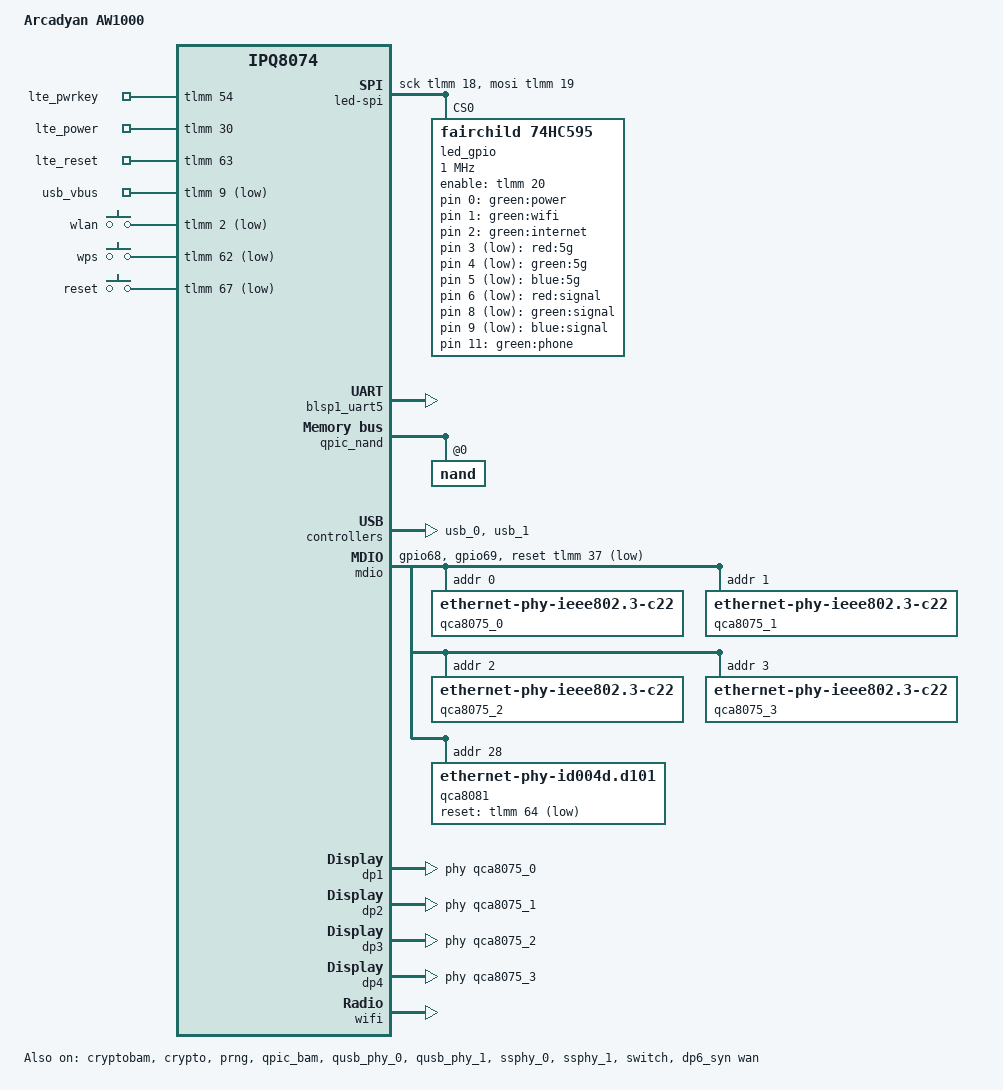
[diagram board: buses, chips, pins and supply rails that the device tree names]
// SPDX-License-Identifier: GPL-2.0-or-later OR MIT

/dts-v1/;

#include "ipq8074.dtsi"
#include "ipq8074-hk-cpu.dtsi"
#include "ipq8074-ess.dtsi"
#include "ipq8074-nss.dtsi"
#include <dt-bindings/gpio/gpio.h>
#include <dt-bindings/input/input.h>

/ {
	model = "Arcadyan AW1000";
	compatible = "arcadyan,aw1000", "qcom,ipq8074";

	aliases {
		led-boot = &led_power;
		led-failsafe = &led_power;
		led-running = &led_power;
		led-upgrade = &led_power;
		serial0 = &blsp1_uart5;
		/*
		 * Aliases as required by u-boot
		 * to patch MAC addresses
		 */
		ethernet0 = &dp1;
		ethernet1 = &dp2;
		ethernet2 = &dp3;
		ethernet3 = &dp4;
		ethernet4 = &dp6_syn;
		label-mac-device = &dp1;
	};

	chosen {
		stdout-path = "serial0:115200n8";
		bootargs-append = " root=/dev/ubiblock0_1";
	};

	gpio-export {
		compatible = "gpio-export";

		lte-pwrkey {
			gpio-export,name = "lte_pwrkey";
			gpio-export,output = <1>;
			gpios = <&tlmm 54 GPIO_ACTIVE_HIGH>;
		};

		lte-power {
			gpio-export,name = "lte_power";
			gpio-export,output = <1>;
			gpios = <&tlmm 30 GPIO_ACTIVE_HIGH>;
		};

		lte-reset {
			gpio-export,name = "lte_reset";
			gpio-export,output = <1>;
			gpios = <&tlmm 63 GPIO_ACTIVE_HIGH>;
		};

		usb-vbus {
			gpio-export,name = "usb_vbus";
			gpio-export,output = <0>;
			gpios = <&tlmm 9 GPIO_ACTIVE_LOW>;
		};
	};

	keys {
		compatible = "gpio-keys";

		wlan {
			label = "wlan";
			linux,code = <KEY_WLAN>;
			gpios = <&tlmm 2 GPIO_ACTIVE_LOW>;
		};

		wps {
			label = "wps";
			linux,code = <KEY_WPS_BUTTON>;
			gpios = <&tlmm 62 GPIO_ACTIVE_LOW>;
		};

		reset {
			label = "reset";
			linux,code = <KEY_RESTART>;
			gpios = <&tlmm 67 GPIO_ACTIVE_LOW>;
		};
	};

	led-spi {
		compatible = "spi-gpio";
		#address-cells = <1>;
		#size-cells = <0>;

		sck-gpios = <&tlmm 18 GPIO_ACTIVE_HIGH>;
		mosi-gpios = <&tlmm 19 GPIO_ACTIVE_HIGH>;

		led_gpio: led-gpio@0 {
			compatible = "fairchild,74hc595";
			reg = <0>;
			gpio-controller;
			#gpio-cells = <2>;
			registers-number = <2>;
			spi-max-frequency = <1000000>;
			enable-gpios = <&tlmm 20 GPIO_ACTIVE_HIGH>;
		};
	};

	leds {
		compatible = "gpio-leds";

		led_power: power {
			label = "green:power";
			gpios = <&led_gpio 0 GPIO_ACTIVE_HIGH>;
		};

		wifi {
			label = "green:wifi";
			gpios = <&led_gpio 1 GPIO_ACTIVE_HIGH>;
		};

		internet {
			label = "green:internet";
			gpios = <&led_gpio 2 GPIO_ACTIVE_HIGH>;
		};

		5g-red {
			label = "red:5g";
			gpios = <&led_gpio 3 GPIO_ACTIVE_LOW>;
		};

		5g-green {
			label = "green:5g";
			gpios = <&led_gpio 4 GPIO_ACTIVE_LOW>;
		};

		5g-blue {
			label = "blue:5g";
			gpios = <&led_gpio 5 GPIO_ACTIVE_LOW>;
		};

		signal-red {
			label = "red:signal";
			gpios = <&led_gpio 6 GPIO_ACTIVE_LOW>;
		};

		signal-green {
			label = "green:signal";
			gpios = <&led_gpio 8 GPIO_ACTIVE_LOW>;
		};

		signal-blue {
			label = "blue:signal";
			gpios = <&led_gpio 9 GPIO_ACTIVE_LOW>;
		};

		phone {
			label = "green:phone";
			gpios = <&led_gpio 11 GPIO_ACTIVE_HIGH>;
		};
	};
};

&tlmm {
	mdio_pins: mdio-pins {
		mdc {
			pins = "gpio68";
			function = "mdc";
			drive-strength = <8>;
			bias-pull-up;
		};

		mdio {
			pins = "gpio69";
			function = "mdio";
			drive-strength = <8>;
			bias-pull-up;
		};
	};
};

&blsp1_uart5 {
	status = "okay";
};

&cryptobam {
	status = "okay";
};

&crypto {
	status = "okay";
};

&prng {
	status = "okay";
};

&qpic_bam {
	status = "okay";
};

&qpic_nand {
	status = "okay";

	nand@0 {
		reg = <0>;
		nand-ecc-strength = <8>;
		nand-ecc-step-size = <512>;
		nand-bus-width = <8>;

		partitions {
			compatible = "qcom,smem-part";
		};
	};
};

&qusb_phy_0 {
	status = "okay";
};

&qusb_phy_1 {
	status = "okay";
};

&ssphy_0 {
	status = "okay";
};

&ssphy_1 {
	status = "okay";
};

&usb_0 {
	status = "okay";
};

&usb_1 {
	status = "okay";
};

&mdio {
	status = "okay";

	pinctrl-0 = <&mdio_pins>;
	pinctrl-names = "default";
	reset-gpios = <&tlmm 37 GPIO_ACTIVE_LOW>;

	qca8075_0: ethernet-phy@0 {
		compatible = "ethernet-phy-ieee802.3-c22";
		reg = <0>;
	};

	qca8075_1: ethernet-phy@1 {
		compatible = "ethernet-phy-ieee802.3-c22";
		reg = <1>;
	};

	qca8075_2: ethernet-phy@2 {
		compatible = "ethernet-phy-ieee802.3-c22";
		reg = <2>;
	};

	qca8075_3: ethernet-phy@3 {
		compatible = "ethernet-phy-ieee802.3-c22";
		reg = <3>;
	};

	qca8081: ethernet-phy@28 {
		compatible = "ethernet-phy-id004d.d101";
		reg = <28>;
		reset-gpios = <&tlmm 64 GPIO_ACTIVE_LOW>;
	};
};

&switch {
	status = "okay";

	switch_cpu_bmp = <0x1>;  /* cpu port bitmap */
	switch_lan_bmp = <0x3e>; /* lan port bitmap */
	switch_wan_bmp = <0x40>; /* wan port bitmap */
	switch_mac_mode = <0x0>; /* mac mode for uniphy instance0*/
	switch_mac_mode1 = <0xff>; /* mac mode for uniphy instance1*/
	switch_mac_mode2 = <0xf>; /* mac mode for uniphy instance2*/
	bm_tick_mode = <0>; /* bm tick mode */
	tm_tick_mode = <0>; /* tm tick mode */

	qcom,port_phyinfo {
		port@0 {
			port_id = <1>;
			phy_address = <0>;
		};
		port@1 {
			port_id = <2>;
			phy_address = <1>;
		};
		port@2 {
			port_id = <3>;
			phy_address = <2>;
		};
		port@3 {
			port_id = <4>;
			phy_address = <3>;
		};
		port@4 {
			port_id = <5>;
			phy_address = <4>;
		};
		port@5 {
			port_id = <6>;
			phy_address = <28>;
			port_mac_sel = "QGMAC_PORT";
		};
	};
};

&edma {
	status = "okay";
};

&dp1 {
	status = "okay";
	phy-handle = <&qca8075_0>;
	label = "lan1";
};

&dp2 {
	status = "okay";
	phy-handle = <&qca8075_1>;
	label = "lan2";
};

&dp3 {
	status = "okay";
	phy-handle = <&qca8075_2>;
	label = "lan3";
};

&dp4 {
	status = "okay";
	phy-handle = <&qca8075_3>;
	label = "lan4";
};

&dp6_syn {
	status = "okay";
	phy-handle = <&qca8081>;
	label = "wan";
};

&wifi {
	status = "okay";

	qcom,ath11k-calibration-variant = "Arcadyan-AW1000";
};
